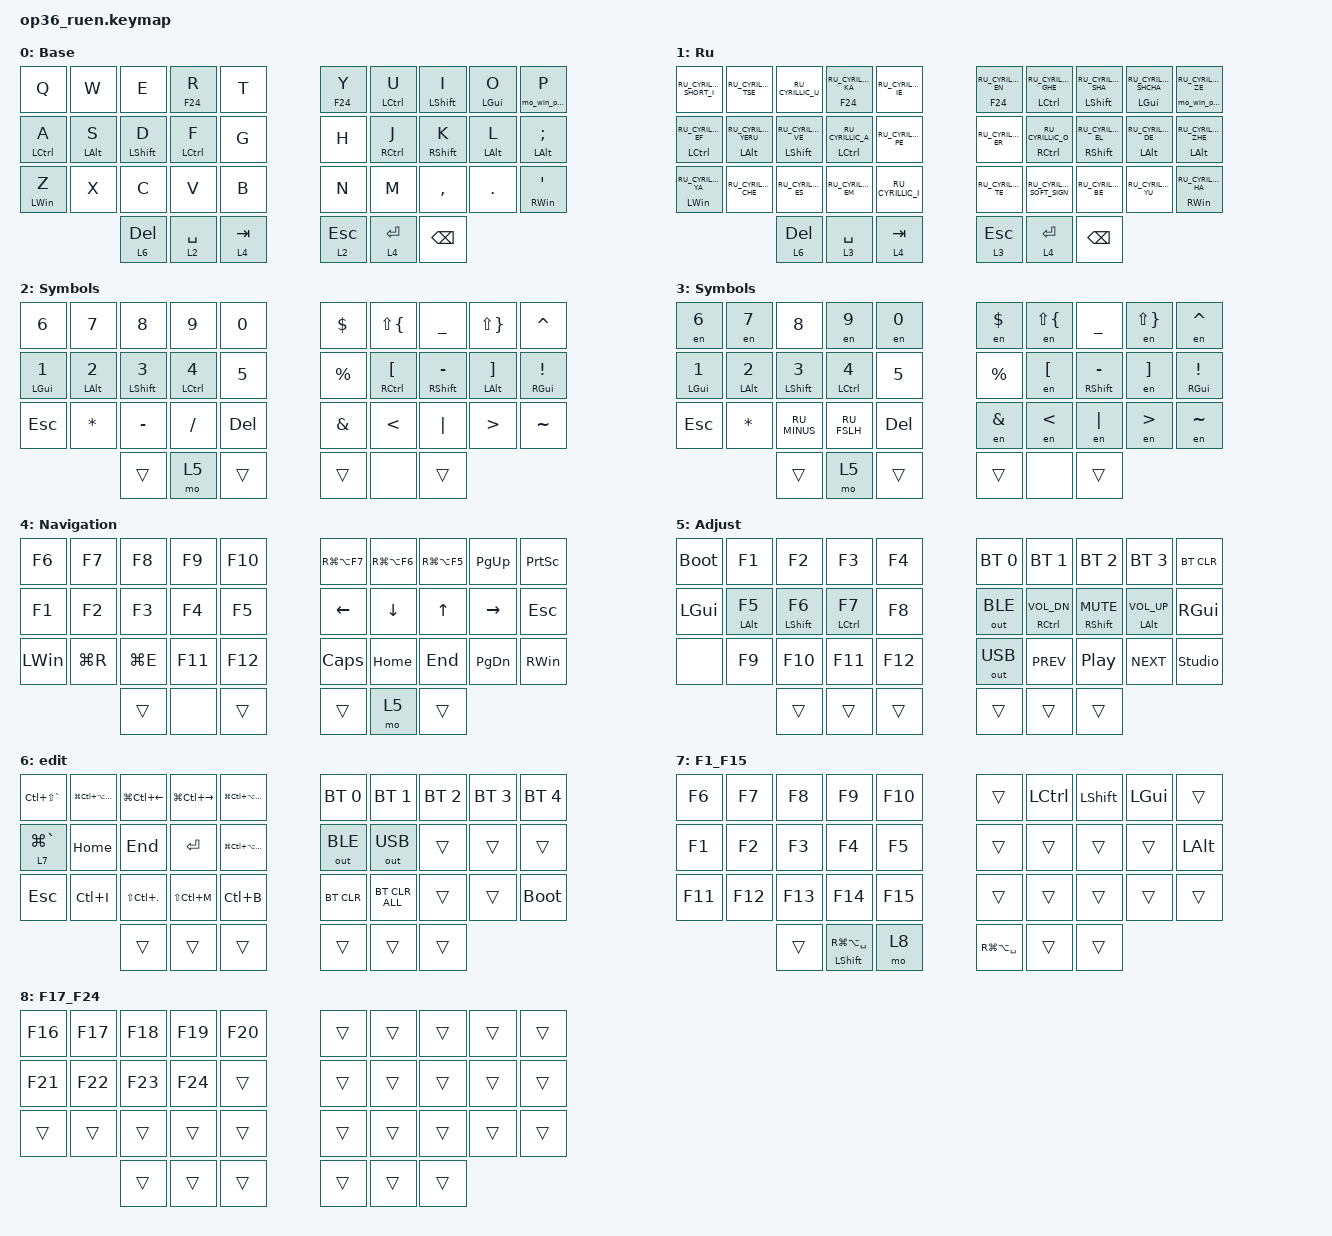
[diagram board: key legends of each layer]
#include "keys_ru.h"
#include "keys_ru.h"
#include <behaviors.dtsi>
#include <dt-bindings/zmk/bt.h>
#include <dt-bindings/zmk/keys.h>
#include <dt-bindings/zmk/outputs.h>
#include <dt-bindings/zmk/pointing.h>

&mt {
    quick-tap-ms = <200>;
    flavor = "tap-preferred";
    require-prior-idle-ms = <125>;
};

/ {
    behaviors {
        hml: home_row_mod_left {
            compatible = "zmk,behavior-hold-tap";
            #binding-cells = <2>;
            flavor = "balanced";
            require-prior-idle-ms = <150>;
            tapping-term-ms = <280>;
            quick-tap-ms = <175>;
            bindings = <&kp>, <&kp>;

            hold-trigger-key-positions = <5 6 7 8 9 15 16 17 18 19 25 26 27 28 29 33 34 35 32 31 30 13 12 11 10>;
            hold-trigger-on-release;
        };

        hmr: home_row_mod_right {
            compatible = "zmk,behavior-hold-tap";
            #binding-cells = <2>;
            flavor = "balanced";
            require-prior-idle-ms = <150>;
            tapping-term-ms = <280>;
            quick-tap-ms = <175>;
            bindings = <&kp>, <&kp>;

            hold-trigger-key-positions = <0 1 2 3 4 10 11 12 13 14 20 21 22 23 24 30 31 32 34 35 33>;
            hold-trigger-on-release;
        };

        ht_mo_win: hold_tap_mo_win {
            compatible = "zmk,behavior-hold-tap";
            #binding-cells = <2>;

            // Для буквенных клавиш лучше использовать tap-preferred, 
            // чтобы при быстрой печати не было ложных срабатываний макроса

            flavor = "tap-preferred";
            tapping-term-ms = <200>; // Время (в мс), после которого нажатие считается удержанием
            // Первое действие - удержание (наш макрос), Второе - нажатие (обычная кнопка)

            bindings = <&mo_win_param>, <&kp>;
        };

        // Создаем универсальный Hold-Tap для 8-го слоя

        ht_mo7: ht_mo7 {
            compatible = "zmk,behavior-hold-tap";
            #binding-cells = <2>;
            flavor = "tap-preferred";
            tapping-term-ms = <200>;

            // На Hold срабатывает наш макрос, на Tap - обычная кнопка

            bindings = <&mo7_mod>, <&kp>;
        };
    };

    combos {
        compatible = "zmk,combos";

        cmben {
            bindings = <&layer_en>;
            key-positions = <13 14>;
        };

        cmbru {
            bindings = <&layer_ru>;
            key-positions = <15 16>;
        };

        en_commma {
            bindings = <&kp COMMA>;
            key-positions = <16 17>;
            layers = <0 2>;
        };

        en_dot {
            bindings = <&kp DOT>;
            key-positions = <13 12>;
            layers = <0 2>;
        };

        en_semicolon {
            bindings = <&kp SEMI>;
            key-positions = <17 18>;
            layers = <0 2>;
        };

        en_colon {
            bindings = <&kp COLON>;
            key-positions = <12 11>;
            layers = <0 2>;
        };

        ru_E {
            bindings = <&kp RU_CYRILLIC_E>;
            key-positions = <16 19>;
            layers = <1>;
        };

        en_bslash {
            bindings = <&kp BACKSLASH>;
            key-positions = <18 19>;
            layers = <0 2>;
        };

        en_fslash {
            bindings = <&kp FSLH>;
            key-positions = <10 11>;
            layers = <0 2>;
        };

        en_squote {
            bindings = <&kp SQT>;
            key-positions = <3 4>;
            layers = <0 2>;
        };

        en_dquote {
            bindings = <&kp DQT>;
            key-positions = <5 6>;
            layers = <0 2>;
        };

        en_plus {
            bindings = <&kp PLUS>;
            key-positions = <1 2>;
            layers = <0 2>;
        };

        en_minus {
            bindings = <&kp MINUS>;
            key-positions = <7 8>;
            layers = <0 2>;
        };

        en_excl {
            bindings = <&kp EXCL>;
            key-positions = <6 7>;
            layers = <0 2>;
        };

        en_quest {
            bindings = <&kp QMARK>;
            key-positions = <3 2>;
            layers = <0 2>;
        };

        en_at {
            bindings = <&kp LS(AT_SIGN)>;
            key-positions = <0 1>;
            layers = <0 2>;
        };

        en_hash {
            bindings = <&kp HASH>;
            key-positions = <8 9>;
            layers = <0 2>;
        };

        en_lpar {
            bindings = <&kp LPAR>;
            key-positions = <3 1>;
            layers = <0 2>;
        };

        en_rpar {
            bindings = <&kp RPAR>;
            key-positions = <4 1>;
            layers = <0 2>;
        };

        en_grave {
            bindings = <&kp GRAVE>;
            key-positions = <6 8>;
            layers = <0 2>;
        };

        en_triple_grave {
            bindings = <&triple_grave>;
            key-positions = <6 7 8>;
            layers = <0 2>;
        };

        ctrl_c {
            bindings = <&kp LC(C)>;
            key-positions = <22 23>;
        };

        ctrl_v {
            bindings = <&kp LC(V)>;
            key-positions = <22 24>;
        };

        ctrl_x {
            bindings = <&kp LC(X)>;
            key-positions = <22 21>;
        };

        ctrl_z {
            bindings = <&kp LC(Z)>;
            key-positions = <20 21>;
        };

        en_lt {
            bindings = <&kp LS(LESS_THAN)>;
            key-positions = <26 27>;
            layers = <0 2>;
        };

        en_gt {
            bindings = <&kp LS(GREATER_THAN)>;
            key-positions = <27 28>;
            layers = <0 2>;
        };

        en_pipe {
            bindings = <&kp PIPE>;
            key-positions = <26 28>;
            layers = <0 2>;
        };

        ru_comma {
            bindings = <&kp RU_COMMA>;
            key-positions = <16 17>;
            layers = <1 3>;
        };

        ru_dot {
            bindings = <&kp RU_DOT>;
            key-positions = <13 12>;
            layers = <1 3>;
        };

        ru_semicolon {
            bindings = <&kp RU_SEMI>;
            key-positions = <17 18>;
            layers = <1 3>;
        };

        ru_colon {
            bindings = <&kp RU_COLON>;
            key-positions = <12 11>;
            layers = <1 3>;
        };

        ru_bslash {
            bindings = <&kp RU_BSLH>;
            key-positions = <18 19>;
            layers = <1 3>;
        };

        ru_fslash {
            bindings = <&kp RU_FSLH>;
            key-positions = <10 11>;
            layers = <1 3>;
        };

        ru_squote {
            bindings = <&en SQT>;
            key-positions = <3 4>;
            layers = <1 3>;
        };

        ru_dquote {
            bindings = <&kp RU_DQT>;
            key-positions = <5 6>;
            layers = <1 3>;
        };

        ru_plus {
            bindings = <&kp RU_PLUS>;
            key-positions = <1 2>;
            layers = <1 3>;
        };

        ru_minus {
            bindings = <&kp RU_MINUS>;
            key-positions = <7 8>;
            layers = <1 3>;
        };

        ru_excl {
            bindings = <&kp RU_EXCL>;
            key-positions = <6 7>;
            layers = <1 3>;
        };

        ru_quest {
            bindings = <&kp RU_QUESTION>;
            key-positions = <3 2>;
            layers = <1 3>;
        };

        ru_at {
            bindings = <&en AT_SIGN>;
            key-positions = <0 1>;
            layers = <1 3>;
        };

        ru_hash {
            bindings = <&en HASH>;
            key-positions = <8 9>;
            layers = <1 3>;
        };

        ru_lpar {
            bindings = <&kp RU_LPAR>;
            key-positions = <3 1>;
            layers = <1 3>;
        };

        ru_rpar {
            bindings = <&kp RU_RPAR>;
            key-positions = <4 1>;
            layers = <1 3>;
        };

        ru_grave {
            bindings = <&en GRAVE>;
            key-positions = <6 8>;
            layers = <1 3>;
        };

        ru_triple_grave {
            bindings = <&ru_triple_grave>;
            key-positions = <6 7 8>;
            layers = <1 3>;
        };

        ru_lt {
            bindings = <&en LESS_THAN>;
            key-positions = <26 27>;
            layers = <1 3>;
        };

        ru_gt {
            bindings = <&en LS(GREATER_THAN)>;
            key-positions = <27 28>;
            layers = <1 3>;
        };

        ru_pipe {
            bindings = <&en PIPE>;
            key-positions = <26 28>;
            layers = <1 3>;
        };

        enru_eq {
            bindings = <&kp EQUAL>;
            key-positions = <1 2 3>;
        };

        ru_yo {
            bindings = <&kp RU_CYRILLIC_IO>;
            key-positions = <0 4>;
            layers = <1>;
        };

        ru_er {
            bindings = <&kp RU_CYRILLIC_HARD_SIGN>;
            key-positions = <26 29>;
            layers = <1>;
        };

        ru_triple_dquote {
            bindings = <&ru_triple_dquote>;
            key-positions = <5 6 7>;
            layers = <1 3>;
        };

        en_triple_dquote {
            bindings = <&en_triple_dquote>;
            key-positions = <5 6 7>;
            layers = <0 2>;
        };

        sticky_left_shift {
            bindings = <&sk LEFT_SHIFT>;
            key-positions = <12 31>;
        };

        sticky_right_shift {
            bindings = <&sk RIGHT_SHIFT>;
            key-positions = <17 34>;
        };

        ru_double_hash {
            bindings = <&ru_double_hash>;
            key-positions = <9 8 7>;
            layers = <1 3>;
        };

        en_double_hash {
            bindings = <&en_double_hash>;
            key-positions = <9 8 7>;
            layers = <0 2>;
        };

        Mouse3_Middle {
            bindings = <&mkp MB3>;
            key-positions = <1 2>;
            layers = <4>;
        };

        LMouse_RClick {
            bindings = <&mkp RCLK>;
            key-positions = <12 13 14>;
            layers = <0 1>;
        };

        CtrlShiftM {
            bindings = <&kp LC(LS(M))>;
            key-positions = <22 21 23>;
            layers = <0 1>;
        };

        CtrlShiftX {
            bindings = <&kp LS(LC(X))>;
            key-positions = <20 21 22>;
            layers = <1 0>;
        };

        CtrlC_Copy {
            bindings = <&kp LC(C)>;
            key-positions = <11 13>;
            layers = <0 1 3 2 4>;
        };

        LMouse_LClick {
            bindings = <&mkp LCLK>;
            key-positions = <12 11 13>;
            layers = <0 1 2 3 4>;
        };

        CtrlV_Paste {
            bindings = <&kp LC(V)>;
            key-positions = <12 14>;
        };

        RMouse_RClick {
            bindings = <&mkp RCLK>;
            key-positions = <16 17 18>;
            layers = <0 1>;
        };

        RMouse_LClick {
            bindings = <&mkp LCLK>;
            key-positions = <15 16 17>;
            layers = <0 1>;
        };
    };

    macros {
        to_ru: to_ru {
            compatible = "zmk,behavior-macro";
            #binding-cells = <0>;
            bindings = <&kp LS(LA(N9))>;
            label = "TO_RU";
            wait-ms = <0>;
            tap-ms = <30>;
        };

        to_en: to_en {
            compatible = "zmk,behavior-macro";
            #binding-cells = <0>;
            bindings = <&kp LS(LA(NUMBER_8))>;
            label = "TO_EN";
            wait-ms = <0>;
            tap-ms = <30>;
        };

        layer_en: layer_en {
            compatible = "zmk,behavior-macro";
            #binding-cells = <0>;
            bindings = <&to 0 &to_en>;
            label = "LAYER_EN";
            wait-ms = <0>;
            tap-ms = <30>;
        };

        layer_ru: layer_ru {
            compatible = "zmk,behavior-macro";
            #binding-cells = <0>;
            bindings = <&to 1 &to_ru>;
            label = "LAYER_RU";
            tap-ms = <30>;
            wait-ms = <0>;
        };

        en: en {
            compatible = "zmk,behavior-macro-one-param";
            #binding-cells = <1>;
            bindings =
                <&to_en>,
                <&macro_press>,
                <&macro_param_1to1 &kp MACRO_PLACEHOLDER>,
                <&macro_pause_for_release>,
                <&macro_release>,
                <&macro_param_1to1 &kp MACRO_PLACEHOLDER>,
                <&macro_tap>,
                <&to_ru>;

            label = "EN";
            wait-ms = <0>;
            tap-ms = <30>;
        };

        triple_grave: triple_grave {
            compatible = "zmk,behavior-macro";
            #binding-cells = <0>;
            bindings = <&kp GRAVE &kp GRAVE &kp GRAVE>;
            label = "TRIPLE_GRAVE";
        };

        ru_triple_grave: ru_triple_grave {
            compatible = "zmk,behavior-macro";
            #binding-cells = <0>;
            bindings = <&to_en &kp GRAVE &kp GRAVE &kp GRAVE &to_ru>;
            label = "RU_TRIPLE_GRAVE";
        };

        ru_triple_dquote: triple_dquote {
            compatible = "zmk,behavior-macro";
            #binding-cells = <0>;
            bindings = <&kp RU_DQT &kp RU_DQT &kp RU_DQT>;
            label = "TRIPLE_DQUOTE";
        };

        en_triple_dquote: en_triple_dquote {
            compatible = "zmk,behavior-macro";
            #binding-cells = <0>;
            bindings = <&kp DQT &kp DQT &kp DQT>;
            label = "EN_TRIPLE_DQUOTE";
        };

        ru_double_hash: ru_double_hash {
            compatible = "zmk,behavior-macro";
            #binding-cells = <0>;
            bindings = <&to_en &kp HASH &kp HASH &to_ru>;
            label = "RU_DOUBLE_HASH";
        };

        en_double_hash: en_double_hash {
            compatible = "zmk,behavior-macro";
            #binding-cells = <0>;
            bindings = <&kp HASH &kp HASH>;
            label = "EN_DOUBLE_HASH";
        };

        mo_win_param: mo_win_param {
            compatible = "zmk,behavior-macro-one-param";
            #binding-cells = <1>;
            wait-ms = <0>;
            tap-ms = <0>;
            bindings =
                <&macro_press>,
                <&mo 2 &kp LGUI>,
                <&macro_pause_for_release>,
                <&macro_release>,
                <&mo 2 &kp LGUI>;
        };

        // Макрос принимает 1 параметр (код модификатора)

        mo7_mod: mo7_mod {
            compatible = "zmk,behavior-macro-one-param";
            #binding-cells = <1>;
            wait-ms = <0>;
            tap-ms = <0>;
            bindings =
                <&macro_param_1to1>,
                <&macro_press>,
                <&kp MACRO_PLACEHOLDER>,
                <&macro_press>,
                <&mo 7>,
                <&macro_pause_for_release>,
                <&macro_release>,
                <&mo 7 &macro_param_1to1>,
                <&macro_release>,
                <&kp MACRO_PLACEHOLDER>;
        };
    };

    keymap {
        compatible = "zmk,keymap";

        en {
            bindings = <
  &kp Q         &kp W        &kp E         &hml F24 R    &kp T                                &hmr F24 Y   &ht_mo7 LCTRL U  &ht_mo7 LSHIFT I  &ht_mo7 LGUI O  &ht_mo_win 0 P
  &hml LCTRL A  &hml LALT S  &hml LSHFT D  &hml LCTRL F  &kp G                                &kp H        &hmr RCTRL J     &hmr RSHFT K      &hmr LALT L     &ht_mo7 LALT SEMI
  &hml LWIN Z   &kp X        &kp C         &kp V         &kp B                                &kp N        &kp M            &kp COMMA         &kp DOT         &hmr RWIN SQT
                                           &lt 6 DELETE  &lt 2 SPACE  &lt 4 TAB    &lt 2 ESC  &lt 4 ENTER  &kp BACKSPACE
            >;

            display-name = "Base";
        };

        ru {
            bindings = <
  &kp RU_CYRILLIC_SHORT_I    &kp RU_CYRILLIC_TSE         &kp RU_CYRILLIC_U          &hml F24 RU_CYRILLIC_KA   &kp RU_CYRILLIC_IE                          &hmr F24 RU_CYRILLIC_EN  &ht_mo7 LCTRL RU_CYRILLIC_GHE  &ht_mo7 LSHIFT RU_CYRILLIC_SHA  &ht_mo7 LGUI RU_CYRILLIC_SHCHA  &ht_mo_win 0 RU_CYRILLIC_ZE
  &hml LCTRL RU_CYRILLIC_EF  &hml LALT RU_CYRILLIC_YERU  &hml LSHFT RU_CYRILLIC_VE  &hml LCTRL RU_CYRILLIC_A  &kp RU_CYRILLIC_PE                          &kp RU_CYRILLIC_ER       &hmr RCTRL RU_CYRILLIC_O       &hmr RSHFT RU_CYRILLIC_EL       &hmr LALT RU_CYRILLIC_DE        &ht_mo7 LALT RU_CYRILLIC_ZHE
  &hml LWIN RU_CYRILLIC_YA   &kp RU_CYRILLIC_CHE         &kp RU_CYRILLIC_ES         &kp RU_CYRILLIC_EM        &kp RU_CYRILLIC_I                           &kp RU_CYRILLIC_TE       &kp RU_CYRILLIC_SOFT_SIGN      &kp RU_CYRILLIC_BE              &kp RU_CYRILLIC_YU              &hmr RWIN RU_CYRILLIC_HA
                                                                                    &lt 6 DEL                 &lt 3 SPACE         &lt 4 TAB    &lt 3 ESC  &lt 4 ENTER              &kp BACKSPACE
            >;

            display-name = "Ru";
        };

        sym_en {
            bindings = <
  &kp NUMBER_6        &kp NUMBER_7        &kp NUMBER_8         &kp NUMBER_9         &kp NUMBER_0                    &kp DOLLAR  &kp LS(LEFT_BRACE)       &kp UNDER         &kp LS(RIGHT_BRACE)      &kp CARET
  &hml LGUI NUMBER_1  &hml LALT NUMBER_2  &hml LSHFT NUMBER_3  &hml LCTRL NUMBER_4  &kp NUMBER_5                    &kp PRCNT   &hmr RCTRL LEFT_BRACKET  &hmr RSHFT MINUS  &hmr LALT RIGHT_BRACKET  &hmr RGUI EXCL
  &kp ESC             &kp STAR            &kp MINUS            &kp FSLH             &kp DELETE                      &kp AMPS    &kp LT                   &kp PIPE          &kp GT                   &kp TILDE
                                                               &trans               &mo 5         &trans    &trans  &none       &trans
            >;

            display-name = "Symbols";
        };

        sym_ru {
            bindings = <
  &en NUMBER_6        &en NUMBER_7        &kp NUMBER_8         &en NUMBER_9         &en NUMBER_0                    &en DOLLAR     &en LS(LEFT_BRACE)  &kp UNDER         &en LS(RIGHT_BRACE)  &en CARET
  &hml LGUI NUMBER_1  &hml LALT NUMBER_2  &hml LSHFT NUMBER_3  &hml LCTRL NUMBER_4  &kp NUMBER_5                    &kp PRCNT      &en LEFT_BRACKET    &hmr RSHFT MINUS  &en RIGHT_BRACKET    &hmr RGUI EXCL
  &kp ESC             &kp STAR            &kp RU_MINUS         &kp RU_FSLH          &kp DEL                         &en AMPERSAND  &en LESS_THAN       &en PIPE          &en GREATER_THAN     &en TILDE
                                                               &trans               &mo 5         &trans    &trans  &none          &trans
            >;

            display-name = "Symbols";
        };

        nav {
            bindings = <
  &kp F6    &kp F7     &kp F8     &kp F9   &kp F10                    &kp RG(LA(F7))  &kp RG(LA(F6))  &kp RG(LA(F5))  &kp PAGE_UP    &kp PRINTSCREEN
  &kp F1    &kp F2     &kp F3     &kp F4   &kp F5                     &kp LEFT        &kp DOWN        &kp UP_ARROW    &kp RIGHT      &kp ESC
  &kp LWIN  &kp LG(R)  &kp LG(E)  &kp F11  &kp F12                    &kp CAPS        &kp HOME        &kp END         &kp PAGE_DOWN  &kp RWIN
                                  &trans   &none    &trans    &trans  &mo 5           &trans
            >;

            display-name = "Navigation";
        };

        adj {
            bindings = <
  &bootloader  &kp F1        &kp F2         &kp F3         &kp F4                     &bt BT_SEL 0  &bt BT_SEL 1         &bt BT_SEL 2       &bt BT_SEL 3        &bt BT_CLR
  &kp LGUI     &hml LALT F5  &hml LSHFT F6  &hml LCTRL F7  &kp F8                     &out OUT_BLE  &hmr RCTRL C_VOL_DN  &hmr RSHFT C_MUTE  &hmr LALT C_VOL_UP  &kp RGUI
  &none        &kp F9        &kp F10        &kp F11        &kp F12                    &out OUT_USB  &kp C_PREV           &kp C_PP           &kp C_NEXT          &studio_unlock
                                            &trans         &trans   &trans    &trans  &trans        &trans
            >;

            display-name = "Adjust";
        };

        edit {
            bindings = <
  &kp LC(LS(GRAVE))  &kp LG(LC(LA(LS(F22))))  &kp LG(LC(LEFT))  &kp LG(LC(RIGHT))  &kp LG(LC(LA(LS(F24))))                    &bt BT_SEL 0  &bt BT_SEL 1    &bt BT_SEL 2  &bt BT_SEL 3  &bt BT_SEL 4
  &lt 7 LG(GRAVE)    &kp HOME                 &kp END           &kp ENTER          &kp LG(LC(LA(LS(F23))))                    &out OUT_BLE  &out OUT_USB    &trans        &trans        &trans
  &kp ESC            &kp LC(I)                &kp LS(LC(DOT))   &kp LS(LC(M))      &kp LC(B)                                  &bt BT_CLR    &bt BT_CLR_ALL  &trans        &trans        &bootloader
                                                                &trans             &trans                   &trans    &trans  &trans        &trans
            >;
        };

        F1_F15 {
            bindings = <
  &kp F6   &kp F7   &kp F8   &kp F9   &kp F10                                                    &trans  &kp LCTRL  &kp LEFT_SHIFT  &kp LEFT_GUI  &trans
  &kp F1   &kp F2   &kp F3   &kp F4   &kp F5                                                     &trans  &trans     &trans          &trans        &kp LEFT_ALT
  &kp F11  &kp F12  &kp F13  &kp F14  &kp F15                                                    &trans  &trans     &trans          &trans        &trans
                             &trans   &hml LEFT_SHIFT RG(LA(SPACE))  &mo 8    &kp RG(LA(SPACE))  &trans  &trans
            >;
        };

        F17_F24 {
            bindings = <
  &kp F16  &kp F17  &kp F18  &kp F19  &kp F20                    &trans  &trans  &trans  &trans  &trans
  &kp F21  &kp F22  &kp F23  &kp F24  &trans                     &trans  &trans  &trans  &trans  &trans
  &trans   &trans   &trans   &trans   &trans                     &trans  &trans  &trans  &trans  &trans
                             &trans   &trans   &trans    &trans  &trans  &trans
            >;
        };
    };
};
